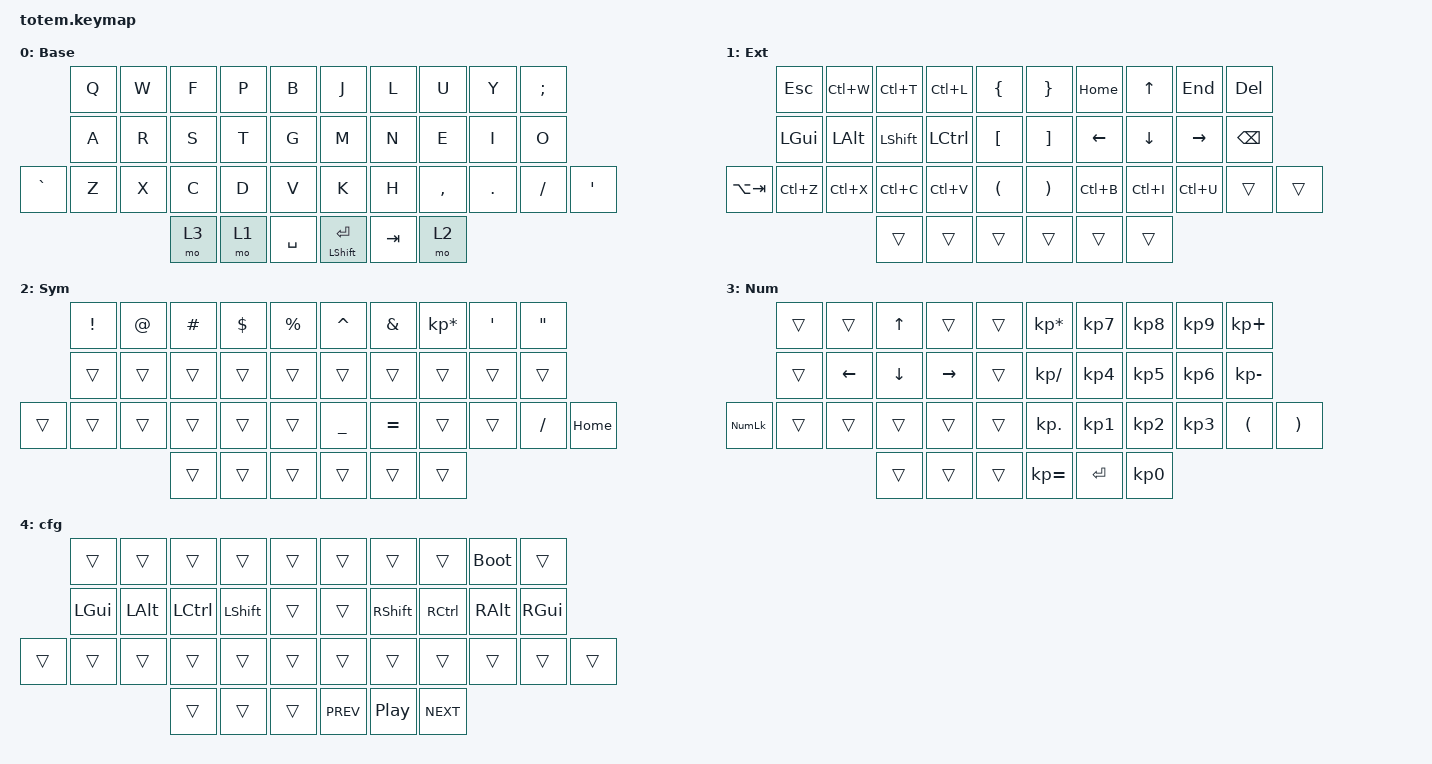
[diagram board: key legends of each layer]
//
//                                                        ▀▀▀▀▀     ▀▀▀▀▀          ▀▀█▀▀
//                                                        ▄▀▀▀▄  ▄  ▄▀▀▀▄  ▄  ▄▀▀▀▄  █  ▄▀▀▀▄
//                                                        █   █  █  █   █  █  █   █  █  █   █
//                                                         ▀▀▀   █   ▀▀▀   █   ▀▀▀   ▀   ▀▀▀
//                                                               █      ▄▄▄█▄▄▄    █   █  
//                                                               ▀      █  █  █     █▄█
//                                                             ▀▀▀▀▀    █  █  █      ▀
//                                                                      ▀  ▀  ▀
//
// ▄▄▄▄▄▄▄▄▄▄▄▄▄▄▄▄▄▄▄▄▄▄▄▄▄▄▄▄▄▄▄▄▄▄▄▄▄▄▄▄▄▄▄▄▄▄▄▄▄▄▄▄▄▄▄▄▄▄▄▄▄▄▄▄▄▄▄▄▄▄▄▄▄▄▄▄▄▄▄▄▄▄▄▄▄▄▄▄▄▄▄▄▄▄▄▄▄▄▄▄▄▄▄▄▄▄▄▄▄▄▄▄▄▄▄▄▄▄▄▄▄▄▄▄▄▄▄▄▄▄▄▄▄▄▄▄▄▄▄▄▄▄▄▄▄▄▄▄▄

#include <behaviors.dtsi>
#include <dt-bindings/zmk/keys.h>

#define Base        0
#define Media       1
#define Nav         2
#define Mouse       3
#define Sym         4
#define Num         5
#define Fun         6
#define Button      7
#define Game        8
#define Gameplus    9

&mt {
    quick-tap-ms = <100>;
    global-quick-tap;
    flavor = "tap-preferred";
    tapping-term-ms = <170>;
};

&lt {
    tapping-term-ms = <240>;
    flavor = "balanced";
    quick-tap-ms = <150>;
};

/ {
    behaviors {
        hm: homerow_mods {
            compatible = "zmk,behavior-hold-tap";
            label = "HOMEROW_MODS";
            #binding-cells = <2>;
            flavor = "tap-preferred";
            tapping-term-ms = <200>;
            quick-tap-ms = <125>;
            global-quick-tap;
            bindings = <&kp>, <&kp>;
        };
    };

    combos {
        compatible = "zmk,combos";

        lwin {
            bindings = <&kp LWIN>;
            key-positions = <10 0>;
        };

        lalt {
            bindings = <&kp LEFT_ALT>;
            key-positions = <11 1>;
        };

        lshift {
            bindings = <&kp LSHIFT>;
            key-positions = <12 2>;
        };

        lctrl {
            bindings = <&kp LCTRL>;
            key-positions = <13 3>;
        };

        rctrl {
            bindings = <&kp RCTRL>;
            key-positions = <16 6>;
        };

        rshift {
            bindings = <&kp RSHIFT>;
            key-positions = <17 7>;
        };

        ralt {
            bindings = <&kp RIGHT_ALT>;
            key-positions = <18 8>;
        };

        rwin {
            bindings = <&kp RWIN>;
            key-positions = <19 9>;
        };
    };

    keymap {
        compatible = "zmk,keymap";

        Base {
            label = "Base";
            bindings = <
           &kp Q  &kp W  &kp F  &kp P  &kp B        &kp J                 &kp L    &kp U      &kp Y    &kp SEMI
           &kp A  &kp R  &kp S  &kp T  &kp G        &kp M                 &kp N    &kp E      &kp I    &kp O
&kp GRAVE  &kp Z  &kp X  &kp C  &kp D  &kp V        &kp K                 &kp H    &kp COMMA  &kp DOT  &kp SLASH  &kp SINGLE_QUOTE
                         &mo 3  &mo 1  &kp SPACE    &mt LEFT_SHIFT ENTER  &kp TAB  &mo 2
            >;
        };

        Extend {
            label = "Ext";
            bindings = <
             &kp ESCAPE    &kp LC(W)     &kp LC(T)       &kp LC(L)         &kp LBRC    &kp RBRC  &kp HOME   &kp UP_ARROW  &kp END    &kp DEL
             &kp LEFT_GUI  &kp LEFT_ALT  &kp LEFT_SHIFT  &kp LEFT_CONTROL  &kp LBKT    &kp RBKT  &kp LEFT   &kp DOWN      &kp RIGHT  &kp BACKSPACE
&kp LA(TAB)  &kp LC(Z)     &kp LC(X)     &kp LC(C)       &kp LC(V)         &kp LPAR    &kp RPAR  &kp LC(B)  &kp LC(I)     &kp LC(U)  &trans         &trans
                                         &trans          &trans            &trans      &trans    &trans     &trans
            >;
        };

        Symbol {
            label = "Sym";
            bindings = <
        &kp EXCL  &kp AT  &kp HASH  &kp DOLLAR  &kp PERCENT    &kp CARET  &kp AMPERSAND  &kp KP_ASTERISK  &kp SQT  &kp DQT
        &trans    &trans  &trans    &trans      &trans         &trans     &trans         &trans           &trans   &trans
&trans  &trans    &trans  &trans    &trans      &trans         &kp UNDER  &kp EQUAL      &trans           &trans   &kp SLASH  &kp HOME
                          &trans    &trans      &trans         &trans     &trans         &trans
            >;
        };

        Numpad {
            label = "Num";
            bindings = <
                &trans  &trans    &kp UP_ARROW  &trans     &trans    &kp KP_ASTERISK  &kp KP_NUMBER_7  &kp KP_NUMBER_8  &kp KP_NUMBER_9  &kp KP_PLUS
                &trans  &kp LEFT  &kp DOWN      &kp RIGHT  &trans    &kp KP_DIVIDE    &kp KP_NUMBER_4  &kp KP_NUMBER_5  &kp KP_NUMBER_6  &kp KP_MINUS
&kp KP_NUMLOCK  &trans  &trans    &trans        &trans     &trans    &kp KP_DOT       &kp KP_NUMBER_1  &kp KP_NUMBER_2  &kp KP_NUMBER_3  &kp LPAR      &kp RPAR
                                  &trans        &trans     &trans    &kp KP_EQUAL     &kp ENTER        &kp KP_NUMBER_0
            >;
        };

        Config {
            label = "cfg";
            bindings = <
        &trans    &trans    &trans     &trans      &trans    &trans      &trans            &trans      &bootloader  &trans
        &kp LGUI  &kp LALT  &kp LCTRL  &kp LSHIFT  &trans    &trans      &kp RSHIFT        &kp RCTRL   &kp RALT     &kp RGUI
&trans  &trans    &trans    &trans     &trans      &trans    &trans      &trans            &trans      &trans       &trans    &trans
                            &trans     &trans      &trans    &kp C_PREV  &kp C_PLAY_PAUSE  &kp C_NEXT
            >;
        };
    };

    conditional_layers {
        compatible = "zmk,conditional-layers";

        cfgwarp {
            if-layers = <1 2>;
            then-layer = <4>;
        };
    };
};
